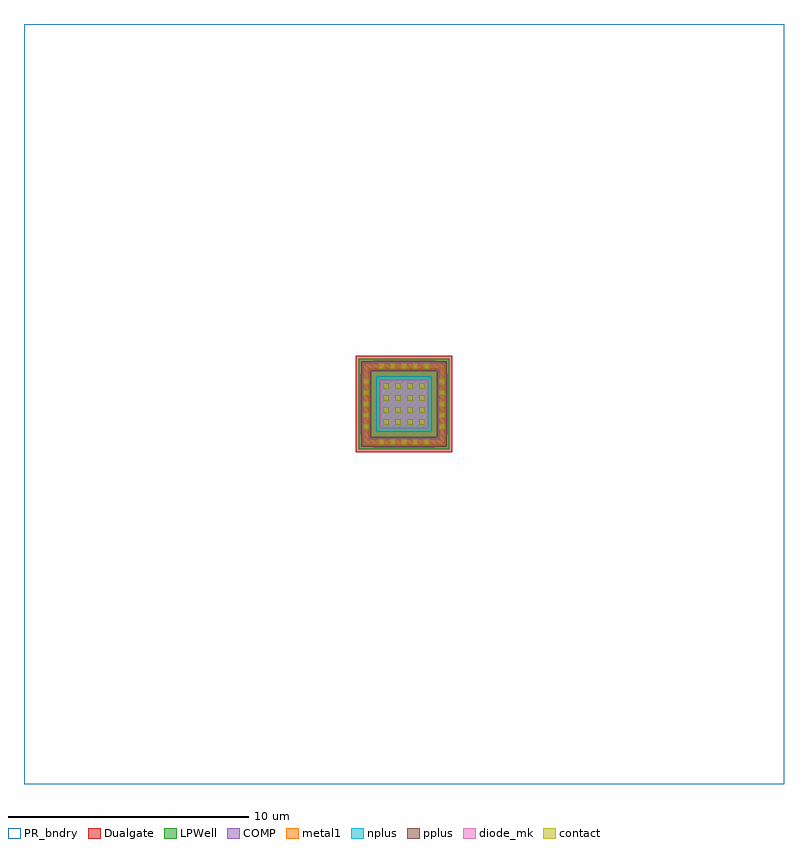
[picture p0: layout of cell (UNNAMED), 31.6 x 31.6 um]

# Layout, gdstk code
import gdstk
lib = gdstk.Library(unit=1e-6, precision=1e-09)
def R(c, l, rs):  # rectangles x0, y0, x1, y1
    for r in rs: c.add(gdstk.rectangle(r[:2], r[2:], *l))
def A(c, l, x, y, w, h, nx, ny, dx, dy):  # array of equal rectangles
    R(c, l, [(x+i*dx, y+j*dy, x+i*dx+w, y+j*dy+h) for i in range(nx) for j in range(ny)])
PR_bndry = (0, 0)
COMP = (22, 0)
pplus = (31, 0)
nplus = (32, 0)
contact = (33, 0)
metal1 = (34, 0)
Dualgate = (55, 0)
diode_mk = (115, 5)
LPWell = (204, 0)

c__unnamed_ = lib.new_cell('(UNNAMED)')
R(c__unnamed_, PR_bndry, [(-15.8,-15.8,15.8,15.8)])
R(c__unnamed_, COMP, [(-1.76,-1.76,1.76,-1.4), (-1.76,-1.4,-1.4,1.4), (1.4,-1.4,1.76,1.4), (-1,-1,1,1), (-1.76,1.4,1.76,1.76)])
R(c__unnamed_, pplus, [(-1.275,-1.79,1.275,-1.78), (-1.78,-1.78,1.78,-1.37), (-1.78,-1.37,-1.37,-1.275), (1.37,-1.37,1.78,-1.275), (-1.79,-1.275,-1.37,1.275), (1.37,-1.275,1.79,1.275), (-1.78,1.275,-1.37,1.37), (1.37,1.275,1.78,1.37), (-1.78,1.37,1.78,1.78), (-1.275,1.78,1.275,1.79)])
R(c__unnamed_, nplus, [(-1.16,-1.16,1.16,1.16)])
A(c__unnamed_, contact, -1.05, -1.69, 0.22, 0.22, 5, 2, 0.47, 3.16)
A(c__unnamed_, contact, -1.69, -1.05, 0.22, 0.22, 1, 5, 0, 0.47)
A(c__unnamed_, contact, 1.47, -1.05, 0.22, 0.22, 1, 5, 0, 0.47)
A(c__unnamed_, contact, -0.86, -0.86, 0.22, 0.22, 4, 4, 0.5, 0.5)
R(c__unnamed_, metal1, [(-1.695,-1.695,1.695,-1.465), (-1.695,-1.465,-1.465,1.465), (1.465,-1.465,1.695,1.465), (-0.99,-0.935,0.99,0.935), (-1.695,1.465,1.695,1.695)])
R(c__unnamed_, Dualgate, [(-2,-2,2,2)])
R(c__unnamed_, diode_mk, [(-1,-1,1,1)])
R(c__unnamed_, LPWell, [(-1.88,-1.88,1.88,1.88)])

lib.write_gds('_UNNAMED_.gds')
